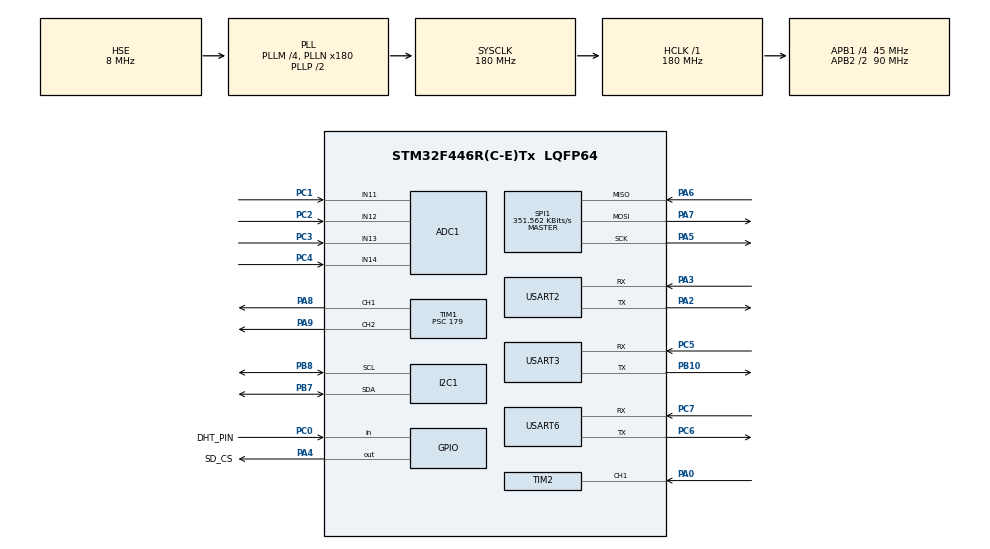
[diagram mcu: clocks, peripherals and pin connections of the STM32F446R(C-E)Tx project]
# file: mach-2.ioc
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ADC1.Channel-0\#ChannelRegularConversion=ADC_CHANNEL_11
ADC1.Channel-1\#ChannelRegularConversion=ADC_CHANNEL_11
ADC1.Channel-2\#ChannelRegularConversion=ADC_CHANNEL_11
ADC1.Channel-3\#ChannelRegularConversion=ADC_CHANNEL_11
ADC1.EOCSelection=ADC_EOC_SEQ_CONV
ADC1.NbrOfConversion=4
ADC1.NbrOfConversionFlag=1
ADC1.Rank-0\#ChannelRegularConversion=1
ADC1.Rank-1\#ChannelRegularConversion=2
ADC1.Rank-2\#ChannelRegularConversion=3
ADC1.Rank-3\#ChannelRegularConversion=4
ADC1.SamplingTime-0\#ChannelRegularConversion=ADC_SAMPLETIME_3CYCLES
ADC1.SamplingTime-1\#ChannelRegularConversion=ADC_SAMPLETIME_3CYCLES
ADC1.SamplingTime-2\#ChannelRegularConversion=ADC_SAMPLETIME_3CYCLES
ADC1.SamplingTime-3\#ChannelRegularConversion=ADC_SAMPLETIME_3CYCLES
ADC1.ScanConvMode=ENABLE
ADC1.master=1
Dma.ADC1.4.Direction=DMA_PERIPH_TO_MEMORY
Dma.ADC1.4.FIFOMode=DMA_FIFOMODE_DISABLE
Dma.ADC1.4.Instance=DMA2_Stream4
Dma.ADC1.4.MemDataAlignment=DMA_MDATAALIGN_HALFWORD
Dma.ADC1.4.MemInc=DMA_MINC_ENABLE
Dma.ADC1.4.Mode=DMA_CIRCULAR
Dma.ADC1.4.PeriphDataAlignment=DMA_PDATAALIGN_HALFWORD
Dma.ADC1.4.PeriphInc=DMA_PINC_DISABLE
Dma.ADC1.4.Priority=DMA_PRIORITY_MEDIUM
Dma.Request0=USART2_TX
Dma.Request1=USART3_RX
Dma.Request2=USART3_TX
Dma.Request3=USART6_RX
Dma.Request4=ADC1
Dma.Request5=SPI1_RX
Dma.Request6=SPI1_TX
Dma.SPI1_RX.5.Direction=DMA_PERIPH_TO_MEMORY
Dma.SPI1_RX.5.FIFOMode=DMA_FIFOMODE_DISABLE
Dma.SPI1_RX.5.Instance=DMA2_Stream0
Dma.SPI1_RX.5.MemDataAlignment=DMA_MDATAALIGN_BYTE
Dma.SPI1_RX.5.MemInc=DMA_MINC_ENABLE
Dma.SPI1_RX.5.Mode=DMA_NORMAL
Dma.SPI1_RX.5.PeriphDataAlignment=DMA_PDATAALIGN_BYTE
Dma.SPI1_RX.5.PeriphInc=DMA_PINC_DISABLE
Dma.SPI1_RX.5.Priority=DMA_PRIORITY_MEDIUM
Dma.SPI1_TX.6.Direction=DMA_MEMORY_TO_PERIPH
Dma.SPI1_TX.6.FIFOMode=DMA_FIFOMODE_DISABLE
Dma.SPI1_TX.6.Instance=DMA2_Stream3
Dma.SPI1_TX.6.MemDataAlignment=DMA_MDATAALIGN_BYTE
Dma.SPI1_TX.6.MemInc=DMA_MINC_ENABLE
Dma.SPI1_TX.6.Mode=DMA_NORMAL
Dma.SPI1_TX.6.PeriphDataAlignment=DMA_PDATAALIGN_BYTE
Dma.SPI1_TX.6.PeriphInc=DMA_PINC_DISABLE
Dma.SPI1_TX.6.Priority=DMA_PRIORITY_MEDIUM
Dma.USART2_TX.0.Direction=DMA_MEMORY_TO_PERIPH
Dma.USART2_TX.0.FIFOMode=DMA_FIFOMODE_DISABLE
Dma.USART2_TX.0.Instance=DMA1_Stream6
Dma.USART2_TX.0.MemDataAlignment=DMA_MDATAALIGN_BYTE
Dma.USART2_TX.0.MemInc=DMA_MINC_ENABLE
Dma.USART2_TX.0.Mode=DMA_NORMAL
Dma.USART2_TX.0.PeriphDataAlignment=DMA_PDATAALIGN_BYTE
Dma.USART2_TX.0.PeriphInc=DMA_PINC_DISABLE
Dma.USART2_TX.0.Priority=DMA_PRIORITY_LOW
Dma.USART3_RX.1.Direction=DMA_PERIPH_TO_MEMORY
Dma.USART3_RX.1.FIFOMode=DMA_FIFOMODE_DISABLE
Dma.USART3_RX.1.Instance=DMA1_Stream1
Dma.USART3_RX.1.MemDataAlignment=DMA_MDATAALIGN_BYTE
Dma.USART3_RX.1.MemInc=DMA_MINC_ENABLE
Dma.USART3_RX.1.Mode=DMA_CIRCULAR
Dma.USART3_RX.1.PeriphDataAlignment=DMA_PDATAALIGN_BYTE
Dma.USART3_RX.1.PeriphInc=DMA_PINC_DISABLE
Dma.USART3_RX.1.Priority=DMA_PRIORITY_LOW
Dma.USART3_TX.2.Direction=DMA_MEMORY_TO_PERIPH
Dma.USART3_TX.2.FIFOMode=DMA_FIFOMODE_DISABLE
Dma.USART3_TX.2.Instance=DMA1_Stream3
Dma.USART3_TX.2.MemDataAlignment=DMA_MDATAALIGN_BYTE
Dma.USART3_TX.2.MemInc=DMA_MINC_ENABLE
Dma.USART3_TX.2.Mode=DMA_NORMAL
Dma.USART3_TX.2.PeriphDataAlignment=DMA_PDATAALIGN_BYTE
Dma.USART3_TX.2.PeriphInc=DMA_PINC_DISABLE
Dma.USART3_TX.2.Priority=DMA_PRIORITY_LOW
Dma.USART6_RX.3.Direction=DMA_PERIPH_TO_MEMORY
Dma.USART6_RX.3.FIFOMode=DMA_FIFOMODE_DISABLE
Dma.USART6_RX.3.Instance=DMA2_Stream1
Dma.USART6_RX.3.MemDataAlignment=DMA_MDATAALIGN_BYTE
Dma.USART6_RX.3.MemInc=DMA_MINC_ENABLE
Dma.USART6_RX.3.Mode=DMA_CIRCULAR
Dma.USART6_RX.3.PeriphDataAlignment=DMA_PDATAALIGN_BYTE
Dma.USART6_RX.3.PeriphInc=DMA_PINC_DISABLE
Dma.USART6_RX.3.Priority=DMA_PRIORITY_LOW
FATFS._USE_FASTSEEK=0
FATFS._USE_LFN=3
FATFS._USE_MUTEX=0
FREERTOS.Tasks01=defaultTask,24,128,StartDefaultTask,Default,NULL,Dynamic,NULL,NULL
FREERTOS.configCHECK_FOR_STACK_OVERFLOW=2
FREERTOS.configTOTAL_HEAP_SIZE=32768
FREERTOS.configUSE_MALLOC_FAILED_HOOK=1
I2C1.NoStretchMode=I2C_NOSTRETCH_DISABLE
Mcu.Family=STM32F4
Mcu.Name=STM32F446R(C-E)Tx
Mcu.Package=LQFP64
NVIC.ADC_IRQn=true\:5\:0\:false\:false\:true\:true\:true\:true\:true
NVIC.DMA1_Stream1_IRQn=true\:7\:0\:true\:false\:true\:true\:false\:true\:true
NVIC.DMA1_Stream3_IRQn=true\:7\:0\:true\:false\:true\:true\:false\:true\:true
NVIC.DMA1_Stream6_IRQn=true\:10\:0\:true\:false\:true\:true\:false\:true\:true
NVIC.DMA2_Stream0_IRQn=true\:6\:0\:true\:false\:true\:true\:false\:true\:true
NVIC.DMA2_Stream1_IRQn=true\:8\:0\:true\:false\:true\:true\:false\:true\:true
NVIC.DMA2_Stream3_IRQn=true\:6\:0\:true\:false\:true\:true\:false\:true\:true
NVIC.DMA2_Stream4_IRQn=true\:5\:0\:false\:false\:true\:true\:false\:true\:true
NVIC.I2C1_ER_IRQn=true\:9\:0\:true\:false\:true\:true\:true\:true\:true
NVIC.I2C1_EV_IRQn=true\:9\:0\:true\:false\:true\:true\:true\:true\:true
NVIC.PriorityGroup=NVIC_PRIORITYGROUP_4
NVIC.SPI1_IRQn=true\:6\:0\:true\:false\:true\:true\:true\:true\:true
NVIC.TIM2_IRQn=true\:5\:0\:false\:false\:true\:true\:true\:true\:true
NVIC.USART2_IRQn=true\:10\:0\:true\:false\:true\:true\:true\:true\:true
NVIC.USART3_IRQn=true\:7\:0\:true\:false\:true\:true\:true\:true\:true
NVIC.USART6_IRQn=true\:8\:0\:true\:false\:true\:true\:true\:true\:true
PA0-WKUP.Signal=S_TIM2_CH1_ETR
PA13.Mode=Serial_Wire
PA13.Signal=SYS_JTMS-SWDIO
PA14.Mode=Serial_Wire
PA14.Signal=SYS_JTCK-SWCLK
PA2.Mode=Asynchronous
PA2.Signal=USART2_TX
PA3.Mode=Asynchronous
PA3.Signal=USART2_RX
PA4.GPIO_Label=SD_CS
PA4.GPIO_Speed=GPIO_SPEED_FREQ_HIGH
PA4.PinState=GPIO_PIN_SET
PA4.Signal=GPIO_Output
PA5.Mode=Full_Duplex_Master
PA5.Signal=SPI1_SCK
PA6.Mode=Full_Duplex_Master
PA6.Signal=SPI1_MISO
PA7.Mode=Full_Duplex_Master
PA7.Signal=SPI1_MOSI
PA8.GPIO_Speed=GPIO_SPEED_FREQ_HIGH
PA8.Signal=S_TIM1_CH1
PA9.GPIO_Speed=GPIO_SPEED_FREQ_HIGH
PA9.Signal=S_TIM1_CH2
PB10.Mode=Asynchronous
PB10.Signal=USART3_TX
PB7.Mode=I2C
PB7.Signal=I2C1_SDA
PB8.Mode=I2C
PB8.Signal=I2C1_SCL
PC0.GPIO_Label=DHT_PIN
PC0.Signal=GPIO_Input
PC1.Signal=ADCx_IN11
PC2.Signal=ADCx_IN12
PC3.Signal=ADCx_IN13
PC4.Signal=ADCx_IN14
PC5.Mode=Asynchronous
PC5.Signal=USART3_RX
PC6.Mode=Asynchronous
PC6.Signal=USART6_TX
PC7.Mode=Asynchronous
PC7.Signal=USART6_RX
PH0-OSC_IN.Mode=HSE-External-Oscillator
PH0-OSC_IN.Signal=RCC_OSC_IN
PH1-OSC_OUT.Mode=HSE-External-Oscillator
PH1-OSC_OUT.Signal=RCC_OSC_OUT
ProjectManager.HeapSize=0x200
ProjectManager.StackSize=0x400
ProjectManager.TargetToolchain=STM32CubeIDE
RCC.AHBFreq_Value=180000000
RCC.APB1CLKDivider=RCC_HCLK_DIV4
RCC.APB1Freq_Value=45000000
RCC.APB1TimFreq_Value=90000000
RCC.APB2CLKDivider=RCC_HCLK_DIV2
RCC.APB2Freq_Value=90000000
RCC.APB2TimFreq_Value=180000000
RCC.CortexFreq_Value=180000000
RCC.HCLKFreq_Value=180000000
RCC.HSE_VALUE=8000000
RCC.PLLM=4
RCC.PLLN=180
RCC.PLLSourceVirtual=RCC_PLLSOURCE_HSE
RCC.SYSCLKFreq_VALUE=180000000
RCC.SYSCLKSource=RCC_SYSCLKSOURCE_PLLCLK
RCC.USBFreq_Value=180000000
RCC.VCOOutputFreq_Value=360000000
SH.ADCx_IN11.0=ADC1_IN11,IN11
SH.ADCx_IN12.0=ADC1_IN12,IN12
SH.ADCx_IN13.0=ADC1_IN13,IN13
SH.ADCx_IN14.0=ADC1_IN14,IN14
SH.S_TIM1_CH1.0=TIM1_CH1,PWM Generation1 CH1
SH.S_TIM1_CH2.0=TIM1_CH2,PWM Generation2 CH2
SH.S_TIM2_CH1_ETR.0=TIM2_CH1,Input_Capture1_from_TI1
SPI1.BaudRatePrescaler=SPI_BAUDRATEPRESCALER_256
SPI1.CalculateBaudRate=351.562 KBits/s
SPI1.Direction=SPI_DIRECTION_2LINES
SPI1.Mode=SPI_MODE_MASTER
SPI1.VirtualType=VM_MASTER
TIM1.Channel-PWM\ Generation1\ CH1=TIM_CHANNEL_1
TIM1.Channel-PWM\ Generation2\ CH2=TIM_CHANNEL_2
TIM1.Period=999
TIM1.Prescaler=179
TIM2.Channel-Input_Capture1_from_TI1=TIM_CHANNEL_1
TIM2.Prescaler=89
USART2.VirtualMode=VM_ASYNC
USART3.VirtualMode=VM_ASYNC
USART6.VirtualMode=VM_ASYNC
VP_FATFS_VS_Generic.Mode=User_defined
VP_FREERTOS_VS_CMSIS_V2.Mode=CMSIS_V2
board=custom

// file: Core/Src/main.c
/* USER CODE BEGIN Header */
/**
  ******************************************************************************
  * @file           : main.c
  * @brief          : Main program body
  ******************************************************************************
  */
/* USER CODE END Header */
#include "main.h"
#include "cmsis_os.h"
#include "fatfs.h"

/* USER CODE BEGIN Includes */
#include "FreeRTOS.h"
#include "task.h"
#include "queue.h"
#include "semphr.h"
#include "app_types.h"
#include "tasks/task_flysky.h"
#include "tasks/task_motor.h"
#include "tasks/task_rpi.h"
#include "tasks/task_sensors.h"
#include "tasks/task_gps.h"
#include "tasks/task_compass.h"
#include "tasks/task_sdlog.h"
#include "tasks/task_debug.h"
/* USER CODE END Includes */

ADC_HandleTypeDef hadc1;
DMA_HandleTypeDef hdma_adc1;

I2C_HandleTypeDef hi2c1;

SPI_HandleTypeDef hspi1;
DMA_HandleTypeDef hdma_spi1_rx;
DMA_HandleTypeDef hdma_spi1_tx;

TIM_HandleTypeDef htim1;
TIM_HandleTypeDef htim2;

UART_HandleTypeDef huart2;
UART_HandleTypeDef huart3;
UART_HandleTypeDef huart6;
DMA_HandleTypeDef hdma_usart2_tx;
DMA_HandleTypeDef hdma_usart3_rx;
DMA_HandleTypeDef hdma_usart3_tx;
DMA_HandleTypeDef hdma_usart6_rx;

/* Definitions for defaultTask */
osThreadId_t defaultTaskHandle;
const osThreadAttr_t defaultTask_attributes = {
  .name = "defaultTask",
  .stack_size = 128 * 4,
  .priority = (osPriority_t) osPriorityNormal,
};
/* USER CODE BEGIN PV */

/* ── FreeRTOS IPC objects ── */
QueueHandle_t     xNavQueue    = NULL;
QueueHandle_t     xSensorQueue = NULL;
SemaphoreHandle_t xI2CMutex    = NULL;
SemaphoreHandle_t xSDMutex     = NULL;
SemaphoreHandle_t xUART2Mutex  = NULL;

/* USER CODE END PV */

void SystemClock_Config(void);
static void MX_GPIO_Init(void);
static void MX_DMA_Init(void);
static void MX_USART2_UART_Init(void);
static void MX_USART3_UART_Init(void);
static void MX_USART6_UART_Init(void);
static void MX_SPI1_Init(void);
static void MX_ADC1_Init(void);
static void MX_I2C1_Init(void);
static void MX_TIM1_Init(void);
static void MX_TIM2_Init(void);
void StartDefaultTask(void *argument);

int main(void)
{

  /* MCU Configuration--------------------------------------------------------*/

  /* Reset of all peripherals, Initializes the Flash interface and the Systick. */
  HAL_Init();

  /* Configure the system clock */
  SystemClock_Config();

  /* Initialize all configured peripherals */
  MX_GPIO_Init();
  MX_DMA_Init();
  MX_USART2_UART_Init();
  MX_USART3_UART_Init();
  MX_USART6_UART_Init();
  MX_SPI1_Init();
  MX_ADC1_Init();
  {
      __HAL_RCC_GPIOB_CLK_ENABLE();
      GPIO_InitTypeDef g = {0};
      HAL_GPIO_WritePin(GPIOB, GPIO_PIN_7 | GPIO_PIN_8, GPIO_PIN_SET);
      g.Pin   = GPIO_PIN_7 | GPIO_PIN_8;
      g.Mode  = GPIO_MODE_OUTPUT_OD;
      g.Pull  = GPIO_NOPULL;
      g.Speed = GPIO_SPEED_FREQ_LOW;
      HAL_GPIO_Init(GPIOB, &g);
      for (int i = 0; i < 9; i++) {
          HAL_GPIO_WritePin(GPIOB, GPIO_PIN_8, GPIO_PIN_RESET);
          HAL_Delay(1);
          HAL_GPIO_WritePin(GPIOB, GPIO_PIN_8, GPIO_PIN_SET);
          HAL_Delay(1);
      }
      /* STOP condition */
      HAL_GPIO_WritePin(GPIOB, GPIO_PIN_7, GPIO_PIN_RESET);
      HAL_Delay(1);
      HAL_GPIO_WritePin(GPIOB, GPIO_PIN_7, GPIO_PIN_SET);
      HAL_Delay(1);
      /* HAL_I2C_MspInit will reconfigure PB7/PB8 as AF4 below */
  }
  /* USER CODE END I2C_PreInit */
  MX_I2C1_Init();
  MX_TIM1_Init();
  MX_FATFS_Init();
  MX_TIM2_Init();
  /* USER CODE BEGIN 2 */

  /* Enable DWT cycle counter — required for DHT11 µs timing */
  CoreDebug->DEMCR |= CoreDebug_DEMCR_TRCENA_Msk;
  DWT->CYCCNT       = 0;
  DWT->CTRL        |= DWT_CTRL_CYCCNTENA_Msk;

  /* USER CODE END 2 */

  /* Init scheduler */
  osKernelInitialize();

  /* USER CODE BEGIN RTOS_MUTEX */
  xI2CMutex   = xSemaphoreCreateMutex();
  xSDMutex    = xSemaphoreCreateMutex();
  xUART2Mutex = xSemaphoreCreateMutex();

  configASSERT(xI2CMutex   != NULL);
  configASSERT(xSDMutex    != NULL);
  configASSERT(xUART2Mutex != NULL);
  /* USER CODE END RTOS_MUTEX */

  /* USER CODE BEGIN RTOS_QUEUES */

  /*
   * Navigation:
   * Keep only the latest command.
   * Prevents motor lag from queued stale FlySky/RPi commands.
   */
  xNavQueue = xQueueCreate(1, sizeof(NavCommand_t));

  /*
   * Sensors:
   * Keep only the latest sensor snapshot.
   * Older readings are not useful.
   */
  xSensorQueue = xQueueCreate(1, sizeof(SensorData_t));

  configASSERT(xNavQueue    != NULL);
  configASSERT(xSensorQueue != NULL);

  /* USER CODE END RTOS_QUEUES */

  /* Create the thread(s) */
  /* creation of defaultTask */
  defaultTaskHandle = osThreadNew(StartDefaultTask, NULL, &defaultTask_attributes);

  /* USER CODE BEGIN RTOS_THREADS */
  /*
   * Task priorities (higher number = higher priority):
   *   FlySky   7  — manual RC control, highest
   *   Motor    6  — consumes NavQueue
   *   RPiUART  5  — autonomous navigation (RPi not connected yet)
   *   GPS      4  — NMEA parsing
   *   Compass  4  — I2C polling
   *   Sensors  3  — ADC + DHT11 sampling
   *   SDLog    2  — FatFS write
   *   Debug    1  — UART printf, lowest
   */
  static FlySkyTaskArg_t flysky_arg = { .htim = &htim2, .channel = TIM_CHANNEL_1 };
  xTaskCreate(FlySkyTask,   "FlySky",   512, &flysky_arg, 7, NULL);
  xTaskCreate(MotorTask,    "Motor",    512, NULL,    6, NULL);
  xTaskCreate(RpiUARTTask,  "RPiUART",  512, &huart3, 5, NULL);
  xTaskCreate(GPSTask,      "GPS",      512, &huart6, 4, NULL);
  xTaskCreate(CompassTask,  "Compass",  512, NULL,    4, NULL);
  xTaskCreate(SensorTask,   "Sensors",  768, NULL,    3, NULL);
  xTaskCreate(SDLogTask,    "SDLog",    768, NULL,    2, NULL);
  xTaskCreate(DebugTask,    "Debug",    512, NULL,    1, NULL);
  /* USER CODE END RTOS_THREADS */

  /* Start scheduler */
  osKernelStart();

  /* We should never get here as control is now taken by the scheduler */

  /* Infinite loop */
  while (1)
  {

  }
}

void SystemClock_Config(void)
{
  RCC_OscInitTypeDef RCC_OscInitStruct = {0};
  RCC_ClkInitTypeDef RCC_ClkInitStruct = {0};

  /** Configure the main internal regulator output voltage
  */
  __HAL_RCC_PWR_CLK_ENABLE();
  __HAL_PWR_VOLTAGESCALING_CONFIG(PWR_REGULATOR_VOLTAGE_SCALE1);

  /** Initializes the RCC Oscillators according to the specified parameters
  * in the RCC_OscInitTypeDef structure.
  */
  RCC_OscInitStruct.OscillatorType = RCC_OSCILLATORTYPE_HSE;
  RCC_OscInitStruct.HSEState = RCC_HSE_ON;
  RCC_OscInitStruct.PLL.PLLState = RCC_PLL_ON;
  RCC_OscInitStruct.PLL.PLLSource = RCC_PLLSOURCE_HSE;
  RCC_OscInitStruct.PLL.PLLM = 4;
  RCC_OscInitStruct.PLL.PLLN = 180;
  RCC_OscInitStruct.PLL.PLLP = RCC_PLLP_DIV2;
  RCC_OscInitStruct.PLL.PLLQ = 2;
  RCC_OscInitStruct.PLL.PLLR = 2;
  if (HAL_RCC_OscConfig(&RCC_OscInitStruct) != HAL_OK)
  {
    Error_Handler();
  }

  /** Activate the Over-Drive mode
  */
  if (HAL_PWREx_EnableOverDrive() != HAL_OK)
  {
    Error_Handler();
  }

  /** Initializes the CPU, AHB and APB buses clocks
  */
  RCC_ClkInitStruct.ClockType = RCC_CLOCKTYPE_HCLK|RCC_CLOCKTYPE_SYSCLK
                              |RCC_CLOCKTYPE_PCLK1|RCC_CLOCKTYPE_PCLK2;
  RCC_ClkInitStruct.SYSCLKSource = RCC_SYSCLKSOURCE_PLLCLK;
  RCC_ClkInitStruct.AHBCLKDivider = RCC_SYSCLK_DIV1;
  RCC_ClkInitStruct.APB1CLKDivider = RCC_HCLK_DIV4;
  RCC_ClkInitStruct.APB2CLKDivider = RCC_HCLK_DIV2;

  if (HAL_RCC_ClockConfig(&RCC_ClkInitStruct, FLASH_LATENCY_5) != HAL_OK)
  {
    Error_Handler();
  }
}

static void MX_ADC1_Init(void)
{

  ADC_ChannelConfTypeDef sConfig = {0};

  /** Configure the global features of the ADC (Clock, Resolution, Data Alignment and number of conversion)
  */
  hadc1.Instance = ADC1;
  hadc1.Init.ClockPrescaler = ADC_CLOCK_SYNC_PCLK_DIV4;
  hadc1.Init.Resolution = ADC_RESOLUTION_12B;
  hadc1.Init.ScanConvMode = ENABLE;
  hadc1.Init.ContinuousConvMode = DISABLE;
  hadc1.Init.DiscontinuousConvMode = DISABLE;
  hadc1.Init.ExternalTrigConvEdge = ADC_EXTERNALTRIGCONVEDGE_NONE;
  hadc1.Init.ExternalTrigConv = ADC_SOFTWARE_START;
  hadc1.Init.DataAlign = ADC_DATAALIGN_RIGHT;
  hadc1.Init.NbrOfConversion = 4;
  hadc1.Init.DMAContinuousRequests = DISABLE;
  hadc1.Init.EOCSelection = ADC_EOC_SEQ_CONV;
  if (HAL_ADC_Init(&hadc1) != HAL_OK)
  {
    Error_Handler();
  }

  /** Configure for the selected ADC regular channel its corresponding rank in the sequencer and its sample time.
  */
  sConfig.Channel = ADC_CHANNEL_11;
  sConfig.Rank = 1;
  sConfig.SamplingTime = ADC_SAMPLETIME_3CYCLES;
  if (HAL_ADC_ConfigChannel(&hadc1, &sConfig) != HAL_OK)
  {
    Error_Handler();
  }

  /** Configure for the selected ADC regular channel its corresponding rank in the sequencer and its sample time.
  */
  sConfig.Rank = 2;
  if (HAL_ADC_ConfigChannel(&hadc1, &sConfig) != HAL_OK)
  {
    Error_Handler();
  }

  /** Configure for the selected ADC regular channel its corresponding rank in the sequencer and its sample time.
  */
  sConfig.Rank = 3;
  if (HAL_ADC_ConfigChannel(&hadc1, &sConfig) != HAL_OK)
  {
    Error_Handler();
  }

  /** Configure for the selected ADC regular channel its corresponding rank in the sequencer and its sample time.
  */
  sConfig.Rank = 4;
  if (HAL_ADC_ConfigChannel(&hadc1, &sConfig) != HAL_OK)
  {
    Error_Handler();
  }

}

static void MX_I2C1_Init(void)
{

  hi2c1.Instance = I2C1;
  hi2c1.Init.ClockSpeed = 100000;
  hi2c1.Init.DutyCycle = I2C_DUTYCYCLE_2;
  hi2c1.Init.OwnAddress1 = 0;
  hi2c1.Init.AddressingMode = I2C_ADDRESSINGMODE_7BIT;
  hi2c1.Init.DualAddressMode = I2C_DUALADDRESS_DISABLE;
  hi2c1.Init.OwnAddress2 = 0;
  hi2c1.Init.GeneralCallMode = I2C_GENERALCALL_DISABLE;
  hi2c1.Init.NoStretchMode = I2C_NOSTRETCH_DISABLE;
  if (HAL_I2C_Init(&hi2c1) != HAL_OK)
  {
    Error_Handler();
  }

}

static void MX_SPI1_Init(void)
{

  /* SPI1 parameter configuration*/
  hspi1.Instance = SPI1;
  hspi1.Init.Mode = SPI_MODE_MASTER;
  hspi1.Init.Direction = SPI_DIRECTION_2LINES;
  hspi1.Init.DataSize = SPI_DATASIZE_8BIT;
  hspi1.Init.CLKPolarity = SPI_POLARITY_LOW;
  hspi1.Init.CLKPhase = SPI_PHASE_1EDGE;
  hspi1.Init.NSS = SPI_NSS_SOFT;
  hspi1.Init.BaudRatePrescaler = SPI_BAUDRATEPRESCALER_256;
  hspi1.Init.FirstBit = SPI_FIRSTBIT_MSB;
  hspi1.Init.TIMode = SPI_TIMODE_DISABLE;
  hspi1.Init.CRCCalculation = SPI_CRCCALCULATION_DISABLE;
  hspi1.Init.CRCPolynomial = 10;
  if (HAL_SPI_Init(&hspi1) != HAL_OK)
  {
    Error_Handler();
  }

}

static void MX_TIM1_Init(void)
{

  TIM_MasterConfigTypeDef sMasterConfig = {0};
  TIM_OC_InitTypeDef sConfigOC = {0};
  TIM_BreakDeadTimeConfigTypeDef sBreakDeadTimeConfig = {0};

  htim1.Instance = TIM1;
  htim1.Init.Prescaler = 179;
  htim1.Init.CounterMode = TIM_COUNTERMODE_UP;
  htim1.Init.Period = 999;
  htim1.Init.ClockDivision = TIM_CLOCKDIVISION_DIV1;
  htim1.Init.RepetitionCounter = 0;
  htim1.Init.AutoReloadPreload = TIM_AUTORELOAD_PRELOAD_DISABLE;
  if (HAL_TIM_PWM_Init(&htim1) != HAL_OK)
  {
    Error_Handler();
  }
  sMasterConfig.MasterOutputTrigger = TIM_TRGO_RESET;
  sMasterConfig.MasterSlaveMode = TIM_MASTERSLAVEMODE_DISABLE;
  if (HAL_TIMEx_MasterConfigSynchronization(&htim1, &sMasterConfig) != HAL_OK)
  {
    Error_Handler();
  }
  sConfigOC.OCMode = TIM_OCMODE_PWM1;
  sConfigOC.Pulse = 0;
  sConfigOC.OCPolarity = TIM_OCPOLARITY_HIGH;
  sConfigOC.OCNPolarity = TIM_OCNPOLARITY_HIGH;
  sConfigOC.OCFastMode = TIM_OCFAST_DISABLE;
  sConfigOC.OCIdleState = TIM_OCIDLESTATE_RESET;
  sConfigOC.OCNIdleState = TIM_OCNIDLESTATE_RESET;
  if (HAL_TIM_PWM_ConfigChannel(&htim1, &sConfigOC, TIM_CHANNEL_1) != HAL_OK)
  {
    Error_Handler();
  }
  if (HAL_TIM_PWM_ConfigChannel(&htim1, &sConfigOC, TIM_CHANNEL_2) != HAL_OK)
  {
    Error_Handler();
  }
  sBreakDeadTimeConfig.OffStateRunMode = TIM_OSSR_DISABLE;
  sBreakDeadTimeConfig.OffStateIDLEMode = TIM_OSSI_DISABLE;
  sBreakDeadTimeConfig.LockLevel = TIM_LOCKLEVEL_OFF;
  sBreakDeadTimeConfig.DeadTime = 0;
  sBreakDeadTimeConfig.BreakState = TIM_BREAK_DISABLE;
  sBreakDeadTimeConfig.BreakPolarity = TIM_BREAKPOLARITY_HIGH;
  sBreakDeadTimeConfig.AutomaticOutput = TIM_AUTOMATICOUTPUT_DISABLE;
  if (HAL_TIMEx_ConfigBreakDeadTime(&htim1, &sBreakDeadTimeConfig) != HAL_OK)
  {
    Error_Handler();
  }
  HAL_TIM_MspPostInit(&htim1);

}

static void MX_TIM2_Init(void)
{

  TIM_MasterConfigTypeDef sMasterConfig = {0};
  TIM_IC_InitTypeDef sConfigIC = {0};

  htim2.Instance = TIM2;
  htim2.Init.Prescaler = 89;
  htim2.Init.CounterMode = TIM_COUNTERMODE_UP;
  htim2.Init.Period = 4294967295;
  htim2.Init.ClockDivision = TIM_CLOCKDIVISION_DIV1;
  htim2.Init.AutoReloadPreload = TIM_AUTORELOAD_PRELOAD_DISABLE;
  if (HAL_TIM_IC_Init(&htim2) != HAL_OK)
  {
    Error_Handler();
  }
  sMasterConfig.MasterOutputTrigger = TIM_TRGO_RESET;
  sMasterConfig.MasterSlaveMode = TIM_MASTERSLAVEMODE_DISABLE;
  if (HAL_TIMEx_MasterConfigSynchronization(&htim2, &sMasterConfig) != HAL_OK)
  {
    Error_Handler();
  }
  sConfigIC.ICPolarity = TIM_INPUTCHANNELPOLARITY_RISING;
  sConfigIC.ICSelection = TIM_ICSELECTION_DIRECTTI;
  sConfigIC.ICPrescaler = TIM_ICPSC_DIV1;
  sConfigIC.ICFilter = 0;
  if (HAL_TIM_IC_ConfigChannel(&htim2, &sConfigIC, TIM_CHANNEL_1) != HAL_OK)
  {
    Error_Handler();
  }

}

static void MX_USART2_UART_Init(void)
{

  huart2.Instance = USART2;
  huart2.Init.BaudRate = 115200;
  huart2.Init.WordLength = UART_WORDLENGTH_8B;
  huart2.Init.StopBits = UART_STOPBITS_1;
  huart2.Init.Parity = UART_PARITY_NONE;
  huart2.Init.Mode = UART_MODE_TX_RX;
  huart2.Init.HwFlowCtl = UART_HWCONTROL_NONE;
  huart2.Init.OverSampling = UART_OVERSAMPLING_16;
  if (HAL_UART_Init(&huart2) != HAL_OK)
  {
    Error_Handler();
  }

}

static void MX_USART3_UART_Init(void)
{

  huart3.Instance = USART3;
  huart3.Init.BaudRate = 115200;
  huart3.Init.WordLength = UART_WORDLENGTH_8B;
  huart3.Init.StopBits = UART_STOPBITS_1;
  huart3.Init.Parity = UART_PARITY_NONE;
  huart3.Init.Mode = UART_MODE_TX_RX;
  huart3.Init.HwFlowCtl = UART_HWCONTROL_NONE;
  huart3.Init.OverSampling = UART_OVERSAMPLING_16;
  if (HAL_UART_Init(&huart3) != HAL_OK)
  {
    Error_Handler();
  }

}

static void MX_USART6_UART_Init(void)
{

  huart6.Instance = USART6;
  huart6.Init.BaudRate = 9600;
  huart6.Init.WordLength = UART_WORDLENGTH_8B;
  huart6.Init.StopBits = UART_STOPBITS_1;
  huart6.Init.Parity = UART_PARITY_NONE;
  huart6.Init.Mode = UART_MODE_TX_RX;
  huart6.Init.HwFlowCtl = UART_HWCONTROL_NONE;
  huart6.Init.OverSampling = UART_OVERSAMPLING_16;
  if (HAL_UART_Init(&huart6) != HAL_OK)
  {
    Error_Handler();
  }

}

static void MX_DMA_Init(void)
{

  /* DMA controller clock enable */
  __HAL_RCC_DMA1_CLK_ENABLE();
  __HAL_RCC_DMA2_CLK_ENABLE();

  /* DMA interrupt init */
  /* DMA1_Stream1_IRQn interrupt configuration */
  HAL_NVIC_SetPriority(DMA1_Stream1_IRQn, 7, 0);
  HAL_NVIC_EnableIRQ(DMA1_Stream1_IRQn);
  /* DMA1_Stream3_IRQn interrupt configuration */
  HAL_NVIC_SetPriority(DMA1_Stream3_IRQn, 7, 0);
  HAL_NVIC_EnableIRQ(DMA1_Stream3_IRQn);
  /* DMA1_Stream6_IRQn interrupt configuration */
  HAL_NVIC_SetPriority(DMA1_Stream6_IRQn, 10, 0);
  HAL_NVIC_EnableIRQ(DMA1_Stream6_IRQn);
  /* DMA2_Stream0_IRQn interrupt configuration */
  HAL_NVIC_SetPriority(DMA2_Stream0_IRQn, 6, 0);
  HAL_NVIC_EnableIRQ(DMA2_Stream0_IRQn);
  /* DMA2_Stream1_IRQn interrupt configuration */
  HAL_NVIC_SetPriority(DMA2_Stream1_IRQn, 8, 0);
  HAL_NVIC_EnableIRQ(DMA2_Stream1_IRQn);
  /* DMA2_Stream3_IRQn interrupt configuration */
  HAL_NVIC_SetPriority(DMA2_Stream3_IRQn, 6, 0);
  HAL_NVIC_EnableIRQ(DMA2_Stream3_IRQn);
  /* DMA2_Stream4_IRQn interrupt configuration */
  HAL_NVIC_SetPriority(DMA2_Stream4_IRQn, 5, 0);
  HAL_NVIC_EnableIRQ(DMA2_Stream4_IRQn);

}

static void MX_GPIO_Init(void)
{
  GPIO_InitTypeDef GPIO_InitStruct = {0};

  /* GPIO Ports Clock Enable */
  __HAL_RCC_GPIOH_CLK_ENABLE();
  __HAL_RCC_GPIOC_CLK_ENABLE();
  __HAL_RCC_GPIOA_CLK_ENABLE();
  __HAL_RCC_GPIOB_CLK_ENABLE();

  /*Configure GPIO pin Output Level */
  HAL_GPIO_WritePin(SD_CS_GPIO_Port, SD_CS_Pin, GPIO_PIN_SET);

  /*Configure GPIO pin : DHT_PIN_Pin */
  GPIO_InitStruct.Pin = DHT_PIN_Pin;
  GPIO_InitStruct.Mode = GPIO_MODE_INPUT;
  GPIO_InitStruct.Pull = GPIO_NOPULL;
  HAL_GPIO_Init(DHT_PIN_GPIO_Port, &GPIO_InitStruct);

  /*Configure GPIO pin : SD_CS_Pin */
  GPIO_InitStruct.Pin = SD_CS_Pin;
  GPIO_InitStruct.Mode = GPIO_MODE_OUTPUT_PP;
  GPIO_InitStruct.Pull = GPIO_NOPULL;
  GPIO_InitStruct.Speed = GPIO_SPEED_FREQ_HIGH;
  HAL_GPIO_Init(SD_CS_GPIO_Port, &GPIO_InitStruct);

}

/* USER CODE BEGIN 4 */

/* ── FreeRTOS stack overflow hook ────────────────────────────────────── */

/* USER CODE END 4 */

void StartDefaultTask(void *argument)
{
  /* USER CODE BEGIN 5 */
  vTaskDelete(NULL);
  /* USER CODE END 5 */
}

void Error_Handler(void)
{
  __disable_irq();
  while (1) {}
}
#ifdef USE_FULL_ASSERT
/**
  * @brief  Reports the name of the source file and the source line number
  *         where the assert_param error has occurred.
  * @param  file: pointer to the source file name
  * @param  line: assert_param error line source number
  * @retval None
  */
void assert_failed(uint8_t *file, uint32_t line)
{
  /* USER CODE BEGIN 6 */
  (void)file; (void)line;
  /* USER CODE END 6 */
}
#endif /* USE_FULL_ASSERT */

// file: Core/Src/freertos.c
/* USER CODE BEGIN Header */
/**
  ******************************************************************************
  * File Name          : freertos.c
  * Description        : Code for freertos applications
  ******************************************************************************
  * @attention
  *
  * Copyright (c) 2026 STMicroelectronics.
  * All rights reserved.
  *
  * This software is licensed under terms that can be found in the LICENSE file
  * in the root directory of this software component.
  * If no LICENSE file comes with this software, it is provided AS-IS.
  *
  ******************************************************************************
  */
/* USER CODE END Header */

#include "FreeRTOS.h"
#include "task.h"
#include "main.h"

/* Hook prototypes */
void vApplicationStackOverflowHook(xTaskHandle xTask, signed char *pcTaskName);
void vApplicationMallocFailedHook(void);

/* USER CODE BEGIN 4 */
void vApplicationStackOverflowHook(xTaskHandle xTask, signed char *pcTaskName)
{
   /* Run time stack overflow checking is performed if
   configCHECK_FOR_STACK_OVERFLOW is defined to 1 or 2. This hook function is
   called if a stack overflow is detected. */
    (void)xTask;
    (void)pcTaskName;
    /* pcTaskName is readable in the debugger — set a breakpoint here */
    __disable_irq();
    while (1) {}
}
/* USER CODE END 4 */

/* USER CODE BEGIN 5 */
void vApplicationMallocFailedHook(void)
{
   /* vApplicationMallocFailedHook() will only be called if
   configUSE_MALLOC_FAILED_HOOK is set to 1 in FreeRTOSConfig.h. It is a hook
   function that will get called if a call to pvPortMalloc() fails.
   pvPortMalloc() is called internally by the kernel whenever a task, queue,
   timer or semaphore is created. It is also called by various parts of the
   demo application. If heap_1.c or heap_2.c are used, then the size of the
   heap available to pvPortMalloc() is defined by configTOTAL_HEAP_SIZE in
   FreeRTOSConfig.h, and the xPortGetFreeHeapSize() API function can be used
   to query the size of free heap space that remains (although it does not
   provide information on how the remaining heap might be fragmented). */
    __disable_irq();
    while (1) {}
}
/* USER CODE END 5 */
